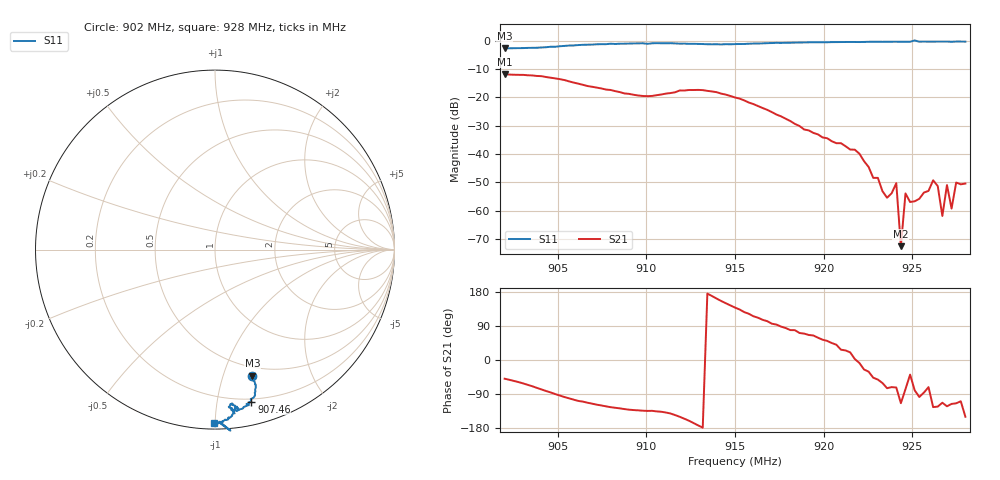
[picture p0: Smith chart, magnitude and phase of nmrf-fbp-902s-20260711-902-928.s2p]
# HZ S RI R 50
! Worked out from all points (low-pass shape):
!   101 points, 902 MHz to 928 MHz, reference 50 ohm
!   highest |S21| = -11.75 dB at 902 MHz (marker M1); lowest = -72.5 dB at 924.36 MHz (marker M2)
!   |S21| within 3 dB of the highest: start of sweep to 905.8919 MHz
!   lowest |S11| = -2.7 dB at 902 MHz (marker M3), VSWR 6.49, Z = 20.7 - j62.7 ohm
!   |S11| at or under -10 dB: nowhere
!   S12 and S22 are empty: the file has one direction only
!   S11 on the Smith chart (normalised r, x): 902 MHz: 0.41, -1.25; 907.46 MHz: 0.18, -1.25; 928 MHz: 0.04, -0.99
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9.02e8  0.2086 -0.7026  0.1685 -0.196  0 0  0 0
9.0642e8  0.2195 -0.8194  -0.0568 -0.1571  0 0  0 0
9.0746e8  0.2024 -0.8468  -0.072 -0.1248  0 0  0 0
9.1084e8  0.1144 -0.8962  -0.0818 -0.0775  0 0  0 0
9.1292e8  0.0767 -0.8762  -0.1347 -0.0176  0 0  0 0
9.15e8  0.1022 -0.8672  -0.0746 0.0664  0 0  0 0
9.1942e8  0.0823 -0.9361  0.0101 0.0214  0 0  0 0
9.2176e8  0.058 -0.9489  0.012 0.000536  0 0  0 0
9.2306e8  0.0368 -0.9598  0.00237 -0.003  0 0  0 0
9.2358e8  0.0381 -0.9602  0.000458 -0.00164  0 0  0 0
9.2384e8  0.0325 -0.9616  0.000648 -0.00194  0 0  0 0
9.241e8  0.0321 -0.9629  0.000921 -0.00293  0 0  0 0
9.2436e8  0.0263 -0.9587  -9.67e-05 -0.000218  0 0  0 0
9.2462e8  0.0285 -0.9613  0.000465 -0.00197  0 0  0 0
9.2514e8  0.086 -1.009  0.000253 -0.00145  0 0  0 0
9.2618e8  0.0165 -0.964  -0.00195 -0.00286  0 0  0 0
9.2644e8  0.015 -0.9669  -0.00149 -0.0023  0 0  0 0
9.267e8  0.0115 -0.967  -0.000314 -0.000748  0 0  0 0
9.2696e8  0.00931 -0.9667  -0.00152 -0.00241  0 0  0 0
9.2722e8  3.46e-05 -0.9606  -0.000479 -0.000987  0 0  0 0
9.2748e8  -0.00128 -0.9687  -0.0013 -0.00288  0 0  0 0
9.28e8  -0.00432 -0.9647  -0.00262 -0.00152  0 0  0 0
